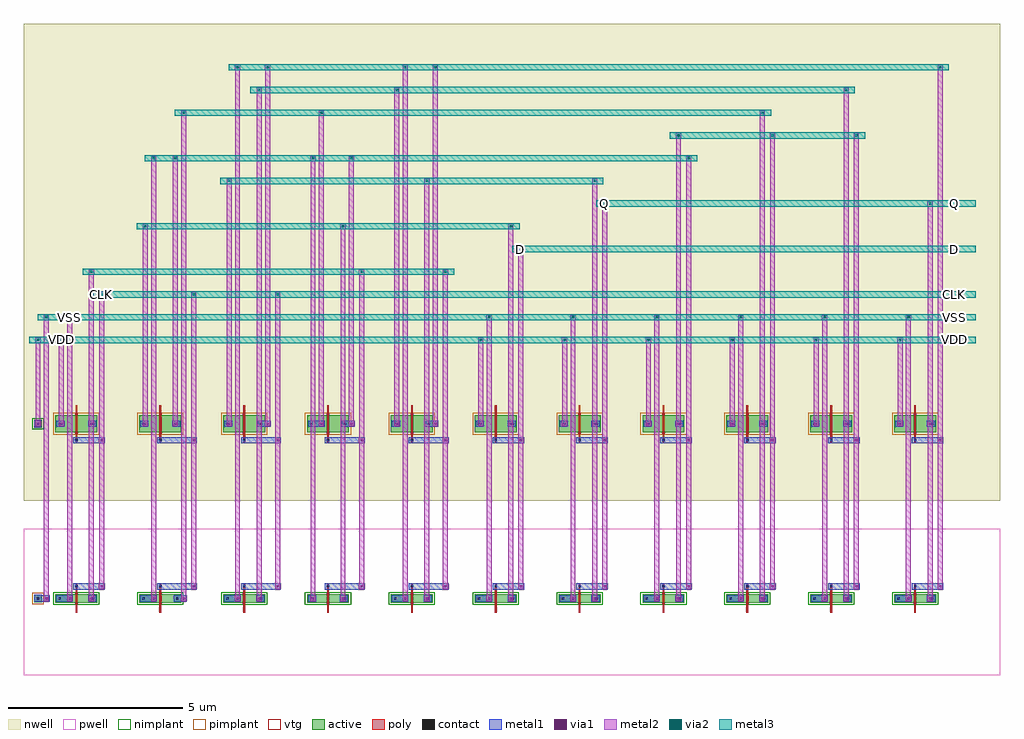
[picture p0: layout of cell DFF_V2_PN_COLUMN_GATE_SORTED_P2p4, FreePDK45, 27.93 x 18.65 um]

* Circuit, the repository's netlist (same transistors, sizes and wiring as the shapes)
* cell DFF_V2_PN_COLUMN_GATE_SORTED_P2p4
* pin CLK
* pin D
* pin Q
* pin VDD
* pin VSS
.SUBCKT DFF_V2_PN_COLUMN_GATE_SORTED_P2p4 7 8 9 12 13
* net 7 CLK
* net 8 D
* net 9 Q
* net 12 VDD
* net 13 VSS
* device instance $1 r0 *1 25.2,7 PMOS_VTG
M$1 9 4 12 12 PMOS_VTG L=0.05U W=0.5U AS=0.2875P AD=0.2875P PS=2.15U PD=2.15U
* device instance $2 r0 *1 20.4,7 PMOS_VTG
M$2 3 6 12 12 PMOS_VTG L=0.05U W=0.5U AS=0.2875P AD=0.2875P PS=2.15U PD=2.15U
* device instance $3 r0 *1 22.8,7 PMOS_VTG
M$3 5 6 12 12 PMOS_VTG L=0.05U W=0.5U AS=0.2875P AD=0.2875P PS=2.15U PD=2.15U
* device instance $4 r0 *1 18,7 PMOS_VTG
M$4 6 2 12 12 PMOS_VTG L=0.05U W=0.5U AS=0.2875P AD=0.2875P PS=2.15U PD=2.15U
* device instance $5 r0 *1 1.2,7 PMOS_VTG
M$5 1 7 12 12 PMOS_VTG L=0.05U W=0.5U AS=0.2875P AD=0.2875P PS=2.15U PD=2.15U
* device instance $6 r0 *1 8.4,7 PMOS_VTG
M$6 2 1 3 12 PMOS_VTG L=0.05U W=0.5U AS=0.2875P AD=0.2875P PS=2.15U PD=2.15U
* device instance $7 r0 *1 3.6,7 PMOS_VTG
M$7 2 7 10 12 PMOS_VTG L=0.05U W=0.5U AS=0.2875P AD=0.2875P PS=2.15U PD=2.15U
* device instance $8 r0 *1 6,7 PMOS_VTG
M$8 4 7 11 12 PMOS_VTG L=0.05U W=0.5U AS=0.2875P AD=0.2875P PS=2.15U PD=2.15U
* device instance $9 r0 *1 13.2,7 PMOS_VTG
M$9 10 8 12 12 PMOS_VTG L=0.05U W=0.5U AS=0.2875P AD=0.2875P PS=2.15U PD=2.15U
* device instance $10 r0 *1 10.8,7 PMOS_VTG
M$10 4 1 5 12 PMOS_VTG L=0.05U W=0.5U AS=0.2875P AD=0.2875P PS=2.15U PD=2.15U
* device instance $11 r0 *1 15.6,7 PMOS_VTG
M$11 11 9 12 12 PMOS_VTG L=0.05U W=0.5U AS=0.2875P AD=0.2875P PS=2.15U PD=2.15U
* device instance $12 r0 *1 25.2,2 NMOS_VTG
M$12 9 4 13 13 NMOS_VTG L=0.05U W=0.25U AS=0.14375P AD=0.14375P PS=1.65U
+ PD=1.65U
* device instance $13 r0 *1 22.8,2 NMOS_VTG
M$13 5 6 13 13 NMOS_VTG L=0.05U W=0.25U AS=0.14375P AD=0.14375P PS=1.65U
+ PD=1.65U
* device instance $14 r0 *1 18,2 NMOS_VTG
M$14 6 2 13 13 NMOS_VTG L=0.05U W=0.25U AS=0.14375P AD=0.14375P PS=1.65U
+ PD=1.65U
* device instance $15 r0 *1 15.6,2 NMOS_VTG
M$15 11 9 13 13 NMOS_VTG L=0.05U W=0.25U AS=0.14375P AD=0.14375P PS=1.65U
+ PD=1.65U
* device instance $16 r0 *1 1.2,2 NMOS_VTG
M$16 1 7 13 13 NMOS_VTG L=0.05U W=0.25U AS=0.14375P AD=0.14375P PS=1.65U
+ PD=1.65U
* device instance $17 r0 *1 3.6,2 NMOS_VTG
M$17 3 7 2 13 NMOS_VTG L=0.05U W=0.25U AS=0.14375P AD=0.14375P PS=1.65U PD=1.65U
* device instance $18 r0 *1 6,2 NMOS_VTG
M$18 5 7 4 13 NMOS_VTG L=0.05U W=0.25U AS=0.14375P AD=0.14375P PS=1.65U PD=1.65U
* device instance $19 r0 *1 8.4,2 NMOS_VTG
M$19 10 1 2 13 NMOS_VTG L=0.05U W=0.25U AS=0.14375P AD=0.14375P PS=1.65U
+ PD=1.65U
* device instance $20 r0 *1 20.4,2 NMOS_VTG
M$20 3 6 13 13 NMOS_VTG L=0.05U W=0.25U AS=0.14375P AD=0.14375P PS=1.65U
+ PD=1.65U
* device instance $21 r0 *1 13.2,2 NMOS_VTG
M$21 10 8 13 13 NMOS_VTG L=0.05U W=0.25U AS=0.14375P AD=0.14375P PS=1.65U
+ PD=1.65U
* device instance $22 r0 *1 10.8,2 NMOS_VTG
M$22 11 1 4 13 NMOS_VTG L=0.05U W=0.25U AS=0.14375P AD=0.14375P PS=1.65U
+ PD=1.65U
.ENDS DFF_V2_PN_COLUMN_GATE_SORTED_P2p4

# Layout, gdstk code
import gdstk
lib = gdstk.Library(unit=1e-6, precision=5e-10)
def R(c, l, rs):  # rectangles x0, y0, x1, y1
    for r in rs: c.add(gdstk.rectangle(r[:2], r[2:], *l))
def A(c, l, x, y, w, h, nx, ny, dx, dy):  # array of equal rectangles
    R(c, l, [(x+i*dx, y+j*dy, x+i*dx+w, y+j*dy+h) for i in range(nx) for j in range(ny)])
active = (1, 0)
pwell = (2, 0)
nwell = (3, 0)
nimplant = (4, 0)
pimplant = (5, 0)
vtg = (6, 0)
poly = (9, 0)
contact = (10, 0)
metal1 = (11, 0)
via1 = (12, 0)
metal2 = (13, 0)
via2 = (14, 0)
metal3 = (15, 0)

dff_v2_pn_column_gate_so = lib.new_cell('DFF_V2_PN_COLUMN_GATE_SORTED_P2p4')
A(dff_v2_pn_column_gate_so, active, 0.6, 1.875, 1.2, 0.25, 11, 1, 2.4, 0)
A(dff_v2_pn_column_gate_so, active, 0.6, 6.75, 1.2, 0.5, 11, 1, 2.4, 0)
R(dff_v2_pn_column_gate_so, active, [(-0.01,1.89,0.21,2.11), (-0.01,6.89,0.21,7.11)])
R(dff_v2_pn_column_gate_so, pwell, [(-0.3,-0.2,27.63,4)])
R(dff_v2_pn_column_gate_so, nwell, [(-0.3,4.8,27.63,18.45)])
A(dff_v2_pn_column_gate_so, nimplant, 0.54, 1.815, 1.32, 0.37, 11, 1, 2.4, 0)
R(dff_v2_pn_column_gate_so, nimplant, [(-0.06,6.84,0.26,7.16)])
A(dff_v2_pn_column_gate_so, pimplant, 0.54, 6.69, 1.32, 0.62, 11, 1, 2.4, 0)
R(dff_v2_pn_column_gate_so, pimplant, [(-0.06,1.84,0.26,2.16)])
A(dff_v2_pn_column_gate_so, vtg, 1.165, 1.845, 0.07, 0.31, 11, 1, 2.4, 0)
A(dff_v2_pn_column_gate_so, vtg, 1.165, 6.72, 0.07, 0.56, 11, 1, 2.4, 0)
A(dff_v2_pn_column_gate_so, poly, 1.175, 1.595, 0.05, 0.81, 11, 1, 2.4, 0)
A(dff_v2_pn_column_gate_so, poly, 1.175, 6.47, 0.05, 1.06, 11, 1, 2.4, 0)
A(dff_v2_pn_column_gate_so, contact, 1.17, 2.315, 0.065, 0.065, 11, 2, 2.4, 4.185)
R(dff_v2_pn_column_gate_so, contact, [(0.07,1.97,0.135,2.035), (0.69,1.97,0.755,2.035), (1.65,1.97,1.715,2.035), (3.09,1.97,3.155,2.035), (4.05,1.97,4.115,2.035), (5.49,1.97,5.555,2.035), (6.45,1.97,6.515,2.035), (7.89,1.97,7.955,2.035), (8.85,1.97,8.915,2.035), (10.29,1.97,10.355,2.035), (11.25,1.97,11.315,2.035), (12.69,1.97,12.755,2.035), (13.65,1.97,13.715,2.035), (15.09,1.97,15.155,2.035), (16.05,1.97,16.115,2.035), (17.49,1.97,17.555,2.035), (18.45,1.97,18.515,2.035), (19.89,1.97,19.955,2.035), (20.85,1.97,20.915,2.035), (22.29,1.97,22.355,2.035), (23.25,1.97,23.315,2.035), (24.69,1.97,24.755,2.035), (25.65,1.97,25.715,2.035), (0.07,6.97,0.135,7.035), (0.69,6.97,0.755,7.035), (1.65,6.97,1.715,7.035), (3.09,6.97,3.155,7.035), (4.05,6.97,4.115,7.035), (5.49,6.97,5.555,7.035), (6.45,6.97,6.515,7.035), (7.89,6.97,7.955,7.035), (8.85,6.97,8.915,7.035), (10.29,6.97,10.355,7.035), (11.25,6.97,11.315,7.035), (12.69,6.97,12.755,7.035), (13.65,6.97,13.715,7.035), (15.09,6.97,15.155,7.035), (16.05,6.97,16.115,7.035), (17.49,6.97,17.555,7.035), (18.45,6.97,18.515,7.035), (19.89,6.97,19.955,7.035), (20.85,6.97,20.915,7.035), (22.29,6.97,22.355,7.035), (23.25,6.97,23.315,7.035), (24.69,6.97,24.755,7.035), (25.65,6.97,25.715,7.035)])
A(dff_v2_pn_column_gate_so, metal1, 10.37, 1.91, 0.24, 0.18, 7, 1, 2.4, 0)
A(dff_v2_pn_column_gate_so, metal1, 3.6, 2.255, 0.96, 0.18, 4, 2, 2.4, 4.185)
A(dff_v2_pn_column_gate_so, metal1, 13.2, 2.255, 0.72, 0.18, 6, 2, 2.4, 4.185)
R(dff_v2_pn_column_gate_so, metal1, [(0,1.9,0.2,2.1), (0.1,1.91,0.34,2.09), (0.1,1.91,0.34,2.09), (0.1,1.91,0.34,2.09), (0.1,1.91,0.34,2.09), (0.1,1.91,0.34,2.09), (0.1,1.91,0.34,2.09), (0.1,1.91,0.34,2.09), (0.1,1.91,0.34,2.09), (0.1,1.91,0.34,2.09), (0.1,1.91,0.34,2.09), (0.1,1.91,0.34,2.09), (0.1,1.91,0.34,2.09), (0.25,1.91,0.43,2.09), (0.25,1.91,0.43,2.09), (0.25,1.91,0.43,2.09), (0.25,1.91,0.43,2.09), (0.25,1.91,0.43,2.09), (0.25,1.91,0.43,2.09), (0.25,1.91,0.43,2.09), (0.25,1.91,0.43,2.09), (0.25,1.91,0.43,2.09), (0.25,1.91,0.43,2.09), (0.25,1.91,0.43,2.09), (0.25,1.91,0.43,2.09), (0.63,1.91,0.81,2.09), (0.77,1.91,1.01,2.09), (0.92,1.91,1.1,2.09), (1.54,1.91,1.72,2.09), (1.59,1.91,1.77,2.09), (3.03,1.91,3.21,2.09), (3.17,1.91,3.41,2.09), (3.32,1.91,3.5,2.09), (3.99,1.91,4.17,2.09), (4.03,1.91,4.27,2.09), (4.18,1.91,4.36,2.09), (5.43,1.91,5.61,2.09), (5.57,1.91,5.81,2.09), (5.72,1.91,5.9,2.09), (6.34,1.91,6.52,2.09), (6.39,1.91,6.57,2.09), (7.83,1.91,8.01,2.09), (7.88,1.91,8.06,2.09), (8.74,1.91,8.92,2.09), (8.79,1.91,8.97,2.09), (10.23,1.91,10.41,2.09), (10.52,1.91,10.7,2.09), (11.14,1.91,11.32,2.09), (11.19,1.91,11.37,2.09), (12.63,1.91,12.81,2.09), (12.92,1.91,13.1,2.09), (13.54,1.91,13.72,2.09), (13.59,1.91,13.77,2.09), (15.03,1.91,15.21,2.09), (15.32,1.91,15.5,2.09), (15.94,1.91,16.12,2.09), (15.99,1.91,16.17,2.09), (17.43,1.91,17.61,2.09), (17.72,1.91,17.9,2.09), (18.34,1.91,18.52,2.09), (18.39,1.91,18.57,2.09), (19.83,1.91,20.01,2.09), (20.12,1.91,20.3,2.09), (20.74,1.91,20.92,2.09), (20.79,1.91,20.97,2.09), (22.23,1.91,22.41,2.09), (22.52,1.91,22.7,2.09), (23.14,1.91,23.32,2.09), (23.19,1.91,23.37,2.09), (24.63,1.91,24.81,2.09), (24.92,1.91,25.1,2.09), (25.54,1.91,25.72,2.09), (25.59,1.91,25.77,2.09), (1.11,2.255,1.29,2.435), (1.2,2.255,1.92,2.435), (1.83,2.255,2.01,2.435), (3.51,2.255,3.69,2.435), (4.47,2.255,4.65,2.435), (5.91,2.255,6.09,2.435), (6.87,2.255,7.05,2.435), (8.31,2.255,8.49,2.435), (9.27,2.255,9.45,2.435), (10.71,2.255,10.89,2.435), (11.67,2.255,11.85,2.435), (13.11,2.255,13.29,2.435), (13.83,2.255,14.01,2.435), (15.51,2.255,15.69,2.435), (16.23,2.255,16.41,2.435), (17.91,2.255,18.09,2.435), (18.63,2.255,18.81,2.435), (20.31,2.255,20.49,2.435), (21.03,2.255,21.21,2.435), (22.71,2.255,22.89,2.435), (23.43,2.255,23.61,2.435), (25.11,2.255,25.29,2.435), (25.83,2.255,26.01,2.435), (1.11,6.44,1.29,6.62), (1.2,6.44,1.92,6.62), (1.83,6.44,2.01,6.62), (3.51,6.44,3.69,6.62), (4.47,6.44,4.65,6.62), (5.91,6.44,6.09,6.62), (6.87,6.44,7.05,6.62), (8.31,6.44,8.49,6.62), (9.27,6.44,9.45,6.62), (10.71,6.44,10.89,6.62), (11.67,6.44,11.85,6.62), (13.11,6.44,13.29,6.62), (13.83,6.44,14.01,6.62), (15.51,6.44,15.69,6.62), (16.23,6.44,16.41,6.62), (17.91,6.44,18.09,6.62), (18.63,6.44,18.81,6.62), (20.31,6.44,20.49,6.62), (21.03,6.44,21.21,6.62), (22.71,6.44,22.89,6.62), (23.43,6.44,23.61,6.62), (25.11,6.44,25.29,6.62), (25.83,6.44,26.01,6.62), (0,6.9,0.2,7.1), (0.01,6.91,0.19,7.09), (0.01,6.91,0.19,7.09), (0.01,6.91,0.19,7.09), (0.01,6.91,0.19,7.09), (0.01,6.91,0.19,7.09), (0.01,6.91,0.19,7.09), (0.01,6.91,0.19,7.09), (0.01,6.91,0.19,7.09), (0.01,6.91,0.19,7.09), (0.01,6.91,0.19,7.09), (0.01,6.91,0.19,7.09), (0.01,6.91,0.19,7.09), (0.63,6.91,0.81,7.09), (0.68,6.91,0.86,7.09), (1.54,6.91,1.72,7.09), (1.59,6.91,1.77,7.09), (3.03,6.91,3.21,7.09), (3.08,6.91,3.26,7.09), (3.94,6.91,4.12,7.09), (3.99,6.91,4.17,7.09), (5.43,6.91,5.61,7.09), (5.48,6.91,5.66,7.09), (6.39,6.91,6.57,7.09), (6.43,6.91,6.67,7.09), (6.58,6.91,6.76,7.09), (7.83,6.91,8.01,7.09), (7.97,6.91,8.21,7.09), (8.12,6.91,8.3,7.09), (8.79,6.91,8.97,7.09), (8.83,6.91,9.07,7.09), (8.98,6.91,9.16,7.09), (10.23,6.91,10.41,7.09), (10.28,6.91,10.46,7.09), (11.19,6.91,11.37,7.09), (11.23,6.91,11.47,7.09), (11.38,6.91,11.56,7.09), (12.63,6.91,12.81,7.09), (12.68,6.91,12.86,7.09), (13.54,6.91,13.72,7.09), (13.59,6.91,13.77,7.09), (15.03,6.91,15.21,7.09), (15.08,6.91,15.26,7.09), (15.94,6.91,16.12,7.09), (15.99,6.91,16.17,7.09), (17.43,6.91,17.61,7.09), (17.48,6.91,17.66,7.09), (18.34,6.91,18.52,7.09), (18.39,6.91,18.57,7.09), (19.83,6.91,20.01,7.09), (19.88,6.91,20.06,7.09), (20.74,6.91,20.92,7.09), (20.79,6.91,20.97,7.09), (22.23,6.91,22.41,7.09), (22.28,6.91,22.46,7.09), (23.14,6.91,23.32,7.09), (23.19,6.91,23.37,7.09), (24.63,6.91,24.81,7.09), (24.68,6.91,24.86,7.09), (25.54,6.91,25.72,7.09), (25.59,6.91,25.77,7.09)])
A(dff_v2_pn_column_gate_so, via1, 4.53, 2.315, 0.065, 0.065, 4, 2, 2.4, 4.185)
A(dff_v2_pn_column_gate_so, via1, 13.89, 2.315, 0.065, 0.065, 6, 2, 2.4, 4.185)
R(dff_v2_pn_column_gate_so, via1, [(0.31,1.97,0.375,2.035), (0.31,1.97,0.375,2.035), (0.31,1.97,0.375,2.035), (0.31,1.97,0.375,2.035), (0.31,1.97,0.375,2.035), (0.31,1.97,0.375,2.035), (0.31,1.97,0.375,2.035), (0.31,1.97,0.375,2.035), (0.31,1.97,0.375,2.035), (0.31,1.97,0.375,2.035), (0.31,1.97,0.375,2.035), (0.31,1.97,0.375,2.035), (0.98,1.97,1.045,2.035), (1.6,1.97,1.665,2.035), (3.38,1.97,3.445,2.035), (4.24,1.97,4.305,2.035), (5.78,1.97,5.845,2.035), (6.4,1.97,6.465,2.035), (7.94,1.97,8.005,2.035), (8.8,1.97,8.865,2.035), (10.58,1.97,10.645,2.035), (11.2,1.97,11.265,2.035), (12.98,1.97,13.045,2.035), (13.6,1.97,13.665,2.035), (15.38,1.97,15.445,2.035), (16,1.97,16.065,2.035), (17.78,1.97,17.845,2.035), (18.4,1.97,18.465,2.035), (20.18,1.97,20.245,2.035), (20.8,1.97,20.865,2.035), (22.58,1.97,22.645,2.035), (23.2,1.97,23.265,2.035), (24.98,1.97,25.045,2.035), (25.6,1.97,25.665,2.035), (1.89,2.315,1.955,2.38), (1.89,6.5,1.955,6.565), (0.07,6.97,0.135,7.035), (0.07,6.97,0.135,7.035), (0.07,6.97,0.135,7.035), (0.07,6.97,0.135,7.035), (0.07,6.97,0.135,7.035), (0.07,6.97,0.135,7.035), (0.07,6.97,0.135,7.035), (0.07,6.97,0.135,7.035), (0.07,6.97,0.135,7.035), (0.07,6.97,0.135,7.035), (0.07,6.97,0.135,7.035), (0.07,6.97,0.135,7.035), (0.74,6.97,0.805,7.035), (1.6,6.97,1.665,7.035), (3.14,6.97,3.205,7.035), (4,6.97,4.065,7.035), (5.54,6.97,5.605,7.035), (6.64,6.97,6.705,7.035), (8.18,6.97,8.245,7.035), (9.04,6.97,9.105,7.035), (10.34,6.97,10.405,7.035), (11.44,6.97,11.505,7.035), (12.74,6.97,12.805,7.035), (13.6,6.97,13.665,7.035), (15.14,6.97,15.205,7.035), (16,6.97,16.065,7.035), (17.54,6.97,17.605,7.035), (18.4,6.97,18.465,7.035), (19.94,6.97,20.005,7.035), (20.8,6.97,20.865,7.035), (22.34,6.97,22.405,7.035), (23.2,6.97,23.265,7.035), (24.74,6.97,24.805,7.035), (25.6,6.97,25.665,7.035)])
A(dff_v2_pn_column_gate_so, metal2, 12.94, 2, 0.14, 8.05, 6, 1, 2.4, 0)
A(dff_v2_pn_column_gate_so, metal2, 4.485, 2.27, 0.15, 0.15, 4, 2, 2.4, 4.185)
A(dff_v2_pn_column_gate_so, metal2, 13.845, 2.27, 0.15, 0.15, 6, 2, 2.4, 4.185)
A(dff_v2_pn_column_gate_so, metal2, 12.7, 7, 0.14, 2.4, 6, 1, 2.4, 0)
A(dff_v2_pn_column_gate_so, metal2, 12.695, 9.325, 0.15, 0.15, 6, 1, 2.4, 0)
A(dff_v2_pn_column_gate_so, metal2, 12.935, 9.975, 0.15, 0.15, 6, 1, 2.4, 0)
R(dff_v2_pn_column_gate_so, metal2, [(0.265,1.925,0.415,2.075), (0.265,1.925,0.415,2.075), (0.265,1.925,0.415,2.075), (0.265,1.925,0.415,2.075), (0.265,1.925,0.415,2.075), (0.265,1.925,0.415,2.075), (0.265,1.925,0.415,2.075), (0.265,1.925,0.415,2.075), (0.265,1.925,0.415,2.075), (0.265,1.925,0.415,2.075), (0.265,1.925,0.415,2.075), (0.265,1.925,0.415,2.075), (0.935,1.925,1.085,2.075), (1.555,1.925,1.705,2.075), (3.335,1.925,3.485,2.075), (4.195,1.925,4.345,2.075), (5.735,1.925,5.885,2.075), (6.355,1.925,6.505,2.075), (7.895,1.925,8.045,2.075), (8.755,1.925,8.905,2.075), (10.535,1.925,10.685,2.075), (11.155,1.925,11.305,2.075), (12.935,1.925,13.085,2.075), (13.555,1.925,13.705,2.075), (15.335,1.925,15.485,2.075), (15.955,1.925,16.105,2.075), (17.735,1.925,17.885,2.075), (18.355,1.925,18.505,2.075), (20.135,1.925,20.285,2.075), (20.755,1.925,20.905,2.075), (22.535,1.925,22.685,2.075), (23.155,1.925,23.305,2.075), (24.935,1.925,25.085,2.075), (25.555,1.925,25.705,2.075), (0.27,2,0.41,10.05), (0.27,2,0.41,10.05), (0.27,2,0.41,10.05), (0.27,2,0.41,10.05), (0.27,2,0.41,10.05), (0.27,2,0.41,10.05), (0.27,2,0.41,10.05), (0.27,2,0.41,10.05), (0.27,2,0.41,10.05), (0.27,2,0.41,10.05), (0.27,2,0.41,10.05), (0.27,2,0.41,10.05), (0.94,2,1.08,10.05), (1.56,2,1.7,11.35), (3.34,2,3.48,14.6), (4.2,2,4.34,15.9), (5.74,2,5.88,17.2), (6.36,2,6.5,16.55), (7.9,2,8.04,14.6), (8.76,2,8.9,12.65), (10.54,2,10.68,17.2), (11.16,2,11.3,13.95), (13.56,2,13.7,12.65), (15.96,2,16.1,13.95), (18.36,2,18.5,15.25), (20.76,2,20.9,15.9), (23.16,2,23.3,16.55), (25.56,2,25.7,13.3), (1.845,2.27,1.995,2.42), (1.85,2.345,1.99,10.7), (4.49,2.345,4.63,10.7), (6.89,2.345,7.03,10.7), (9.29,2.345,9.43,11.35), (11.69,2.345,11.83,11.35), (13.85,2.345,13.99,12), (16.25,2.345,16.39,13.3), (18.65,2.345,18.79,14.6), (21.05,2.345,21.19,15.25), (23.45,2.345,23.59,15.25), (25.85,2.345,25.99,17.2), (1.845,6.455,1.995,6.605), (1.85,6.53,1.99,10.7), (4.49,6.53,4.63,10.7), (6.89,6.53,7.03,10.7), (9.29,6.53,9.43,11.35), (11.69,6.53,11.83,11.35), (13.85,6.53,13.99,12), (16.25,6.53,16.39,13.3), (18.65,6.53,18.79,14.6), (21.05,6.53,21.19,15.25), (23.45,6.53,23.59,15.25), (25.85,6.53,25.99,17.2), (0.025,6.925,0.175,7.075), (0.025,6.925,0.175,7.075), (0.025,6.925,0.175,7.075), (0.025,6.925,0.175,7.075), (0.025,6.925,0.175,7.075), (0.025,6.925,0.175,7.075), (0.025,6.925,0.175,7.075), (0.025,6.925,0.175,7.075), (0.025,6.925,0.175,7.075), (0.025,6.925,0.175,7.075), (0.025,6.925,0.175,7.075), (0.025,6.925,0.175,7.075), (0.695,6.925,0.845,7.075), (1.555,6.925,1.705,7.075), (3.095,6.925,3.245,7.075), (3.955,6.925,4.105,7.075), (5.495,6.925,5.645,7.075), (6.595,6.925,6.745,7.075), (8.135,6.925,8.285,7.075), (8.995,6.925,9.145,7.075), (10.295,6.925,10.445,7.075), (11.395,6.925,11.545,7.075), (12.695,6.925,12.845,7.075), (13.555,6.925,13.705,7.075), (15.095,6.925,15.245,7.075), (15.955,6.925,16.105,7.075), (17.495,6.925,17.645,7.075), (18.355,6.925,18.505,7.075), (19.895,6.925,20.045,7.075), (20.755,6.925,20.905,7.075), (22.295,6.925,22.445,7.075), (23.155,6.925,23.305,7.075), (24.695,6.925,24.845,7.075), (25.555,6.925,25.705,7.075), (0.03,7,0.17,9.4), (0.03,7,0.17,9.4), (0.03,7,0.17,9.4), (0.03,7,0.17,9.4), (0.03,7,0.17,9.4), (0.03,7,0.17,9.4), (0.03,7,0.17,9.4), (0.03,7,0.17,9.4), (0.03,7,0.17,9.4), (0.03,7,0.17,9.4), (0.03,7,0.17,9.4), (0.03,7,0.17,9.4), (0.7,7,0.84,9.4), (1.56,7,1.7,11.35), (3.1,7,3.24,12.65), (3.96,7,4.1,14.6), (5.5,7,5.64,13.95), (6.6,7,6.74,17.2), (8.14,7,8.28,15.9), (9,7,9.14,14.6), (10.3,7,10.44,16.55), (11.4,7,11.54,17.2), (13.56,7,13.7,12.65), (15.96,7,16.1,13.95), (18.36,7,18.5,15.25), (20.76,7,20.9,15.9), (23.16,7,23.3,16.55), (25.56,7,25.7,13.3), (0.025,9.325,0.175,9.475), (0.025,9.325,0.175,9.475), (0.025,9.325,0.175,9.475), (0.025,9.325,0.175,9.475), (0.025,9.325,0.175,9.475), (0.025,9.325,0.175,9.475), (0.025,9.325,0.175,9.475), (0.025,9.325,0.175,9.475), (0.025,9.325,0.175,9.475), (0.025,9.325,0.175,9.475), (0.025,9.325,0.175,9.475), (0.025,9.325,0.175,9.475), (0.695,9.325,0.845,9.475), (0.265,9.975,0.415,10.125), (0.265,9.975,0.415,10.125), (0.265,9.975,0.415,10.125), (0.265,9.975,0.415,10.125), (0.265,9.975,0.415,10.125), (0.265,9.975,0.415,10.125), (0.265,9.975,0.415,10.125), (0.265,9.975,0.415,10.125), (0.265,9.975,0.415,10.125), (0.265,9.975,0.415,10.125), (0.265,9.975,0.415,10.125), (0.265,9.975,0.415,10.125), (0.935,9.975,1.085,10.125), (1.845,10.625,1.995,10.775), (1.845,10.625,1.995,10.775), (4.485,10.625,4.635,10.775), (4.485,10.625,4.635,10.775), (6.885,10.625,7.035,10.775), (6.885,10.625,7.035,10.775), (1.555,11.275,1.705,11.425), (1.555,11.275,1.705,11.425), (9.285,11.275,9.435,11.425), (9.285,11.275,9.435,11.425), (11.685,11.275,11.835,11.425), (11.685,11.275,11.835,11.425), (13.845,11.925,13.995,12.075), (13.845,11.925,13.995,12.075), (3.095,12.575,3.245,12.725), (8.755,12.575,8.905,12.725), (13.555,12.575,13.705,12.725), (13.555,12.575,13.705,12.725), (16.245,13.225,16.395,13.375), (16.245,13.225,16.395,13.375), (25.555,13.225,25.705,13.375), (25.555,13.225,25.705,13.375), (5.495,13.875,5.645,14.025), (11.155,13.875,11.305,14.025), (15.955,13.875,16.105,14.025), (15.955,13.875,16.105,14.025), (3.335,14.525,3.485,14.675), (3.955,14.525,4.105,14.675), (7.895,14.525,8.045,14.675), (8.995,14.525,9.145,14.675), (18.645,14.525,18.795,14.675), (18.645,14.525,18.795,14.675), (18.355,15.175,18.505,15.325), (18.355,15.175,18.505,15.325), (21.045,15.175,21.195,15.325), (21.045,15.175,21.195,15.325), (23.445,15.175,23.595,15.325), (23.445,15.175,23.595,15.325), (4.195,15.825,4.345,15.975), (8.135,15.825,8.285,15.975), (20.755,15.825,20.905,15.975), (20.755,15.825,20.905,15.975), (6.355,16.475,6.505,16.625), (10.295,16.475,10.445,16.625), (23.155,16.475,23.305,16.625), (23.155,16.475,23.305,16.625), (5.735,17.125,5.885,17.275), (6.595,17.125,6.745,17.275), (10.535,17.125,10.685,17.275), (11.395,17.125,11.545,17.275), (25.845,17.125,25.995,17.275), (25.845,17.125,25.995,17.275)])
A(dff_v2_pn_column_gate_so, via2, 12.74, 9.37, 0.065, 0.065, 6, 1, 2.4, 0)
A(dff_v2_pn_column_gate_so, via2, 12.98, 10.02, 0.065, 0.065, 6, 1, 2.4, 0)
R(dff_v2_pn_column_gate_so, via2, [(0.07,9.37,0.135,9.435), (0.07,9.37,0.135,9.435), (0.07,9.37,0.135,9.435), (0.07,9.37,0.135,9.435), (0.07,9.37,0.135,9.435), (0.07,9.37,0.135,9.435), (0.07,9.37,0.135,9.435), (0.07,9.37,0.135,9.435), (0.07,9.37,0.135,9.435), (0.07,9.37,0.135,9.435), (0.07,9.37,0.135,9.435), (0.07,9.37,0.135,9.435), (0.74,9.37,0.805,9.435), (0.31,10.02,0.375,10.085), (0.31,10.02,0.375,10.085), (0.31,10.02,0.375,10.085), (0.31,10.02,0.375,10.085), (0.31,10.02,0.375,10.085), (0.31,10.02,0.375,10.085), (0.31,10.02,0.375,10.085), (0.31,10.02,0.375,10.085), (0.31,10.02,0.375,10.085), (0.31,10.02,0.375,10.085), (0.31,10.02,0.375,10.085), (0.31,10.02,0.375,10.085), (0.98,10.02,1.045,10.085), (1.89,10.67,1.955,10.735), (1.89,10.67,1.955,10.735), (4.53,10.67,4.595,10.735), (4.53,10.67,4.595,10.735), (6.93,10.67,6.995,10.735), (6.93,10.67,6.995,10.735), (1.6,11.32,1.665,11.385), (1.6,11.32,1.665,11.385), (9.33,11.32,9.395,11.385), (9.33,11.32,9.395,11.385), (11.73,11.32,11.795,11.385), (11.73,11.32,11.795,11.385), (13.89,11.97,13.955,12.035), (13.89,11.97,13.955,12.035), (3.14,12.62,3.205,12.685), (8.8,12.62,8.865,12.685), (13.6,12.62,13.665,12.685), (13.6,12.62,13.665,12.685), (16.29,13.27,16.355,13.335), (16.29,13.27,16.355,13.335), (25.6,13.27,25.665,13.335), (25.6,13.27,25.665,13.335), (5.54,13.92,5.605,13.985), (11.2,13.92,11.265,13.985), (16,13.92,16.065,13.985), (16,13.92,16.065,13.985), (3.38,14.57,3.445,14.635), (4,14.57,4.065,14.635), (7.94,14.57,8.005,14.635), (9.04,14.57,9.105,14.635), (18.69,14.57,18.755,14.635), (18.69,14.57,18.755,14.635), (18.4,15.22,18.465,15.285), (18.4,15.22,18.465,15.285), (21.09,15.22,21.155,15.285), (21.09,15.22,21.155,15.285), (23.49,15.22,23.555,15.285), (23.49,15.22,23.555,15.285), (4.24,15.87,4.305,15.935), (8.18,15.87,8.245,15.935), (20.8,15.87,20.865,15.935), (20.8,15.87,20.865,15.935), (6.4,16.52,6.465,16.585), (10.34,16.52,10.405,16.585), (23.2,16.52,23.265,16.585), (23.2,16.52,23.265,16.585), (5.78,17.17,5.845,17.235), (6.64,17.17,6.705,17.235), (10.58,17.17,10.645,17.235), (11.44,17.17,11.505,17.235), (25.89,17.17,25.955,17.235), (25.89,17.17,25.955,17.235)])
A(dff_v2_pn_column_gate_so, metal3, 12.695, 9.325, 0.15, 0.15, 6, 1, 2.4, 0)
A(dff_v2_pn_column_gate_so, metal3, 12.935, 9.975, 0.15, 0.15, 6, 1, 2.4, 0)
R(dff_v2_pn_column_gate_so, metal3, [(-0.15,9.31,25.02,9.49), (25.02,9.31,26.93,9.49), (0.025,9.325,0.175,9.475), (0.025,9.325,0.175,9.475), (0.025,9.325,0.175,9.475), (0.025,9.325,0.175,9.475), (0.025,9.325,0.175,9.475), (0.025,9.325,0.175,9.475), (0.025,9.325,0.175,9.475), (0.025,9.325,0.175,9.475), (0.025,9.325,0.175,9.475), (0.025,9.325,0.175,9.475), (0.025,9.325,0.175,9.475), (0.025,9.325,0.175,9.475), (0.695,9.325,0.845,9.475), (0.09,9.96,25.26,10.14), (25.26,9.96,26.93,10.14), (0.265,9.975,0.415,10.125), (0.265,9.975,0.415,10.125), (0.265,9.975,0.415,10.125), (0.265,9.975,0.415,10.125), (0.265,9.975,0.415,10.125), (0.265,9.975,0.415,10.125), (0.265,9.975,0.415,10.125), (0.265,9.975,0.415,10.125), (0.265,9.975,0.415,10.125), (0.265,9.975,0.415,10.125), (0.265,9.975,0.415,10.125), (0.265,9.975,0.415,10.125), (0.935,9.975,1.085,10.125), (1.67,10.61,7.21,10.79), (7.21,10.61,26.93,10.79), (1.845,10.625,1.995,10.775), (1.845,10.625,1.995,10.775), (4.485,10.625,4.635,10.775), (4.485,10.625,4.635,10.775), (6.885,10.625,7.035,10.775), (6.885,10.625,7.035,10.775), (1.38,11.26,12.01,11.44), (1.555,11.275,1.705,11.425), (1.555,11.275,1.705,11.425), (9.285,11.275,9.435,11.425), (9.285,11.275,9.435,11.425), (11.685,11.275,11.835,11.425), (11.685,11.275,11.835,11.425), (13.67,11.91,14.17,12.09), (14.17,11.91,26.93,12.09), (13.845,11.925,13.995,12.075), (13.845,11.925,13.995,12.075), (2.92,12.56,13.88,12.74), (3.095,12.575,3.245,12.725), (8.755,12.575,8.905,12.725), (13.555,12.575,13.705,12.725), (13.555,12.575,13.705,12.725), (16.07,13.21,25.88,13.39), (25.88,13.21,26.93,13.39), (16.245,13.225,16.395,13.375), (16.245,13.225,16.395,13.375), (25.555,13.225,25.705,13.375), (25.555,13.225,25.705,13.375), (5.32,13.86,16.28,14.04), (5.495,13.875,5.645,14.025), (11.155,13.875,11.305,14.025), (15.955,13.875,16.105,14.025), (15.955,13.875,16.105,14.025), (3.16,14.51,18.97,14.69), (3.335,14.525,3.485,14.675), (3.955,14.525,4.105,14.675), (7.895,14.525,8.045,14.675), (8.995,14.525,9.145,14.675), (18.645,14.525,18.795,14.675), (18.645,14.525,18.795,14.675), (18.18,15.16,23.77,15.34), (18.355,15.175,18.505,15.325), (18.355,15.175,18.505,15.325), (21.045,15.175,21.195,15.325), (21.045,15.175,21.195,15.325), (23.445,15.175,23.595,15.325), (23.445,15.175,23.595,15.325), (4.02,15.81,21.08,15.99), (4.195,15.825,4.345,15.975), (8.135,15.825,8.285,15.975), (20.755,15.825,20.905,15.975), (20.755,15.825,20.905,15.975), (6.18,16.46,23.48,16.64), (6.355,16.475,6.505,16.625), (10.295,16.475,10.445,16.625), (23.155,16.475,23.305,16.625), (23.155,16.475,23.305,16.625), (5.56,17.11,26.17,17.29), (5.735,17.125,5.885,17.275), (6.595,17.125,6.745,17.275), (10.535,17.125,10.685,17.275), (11.395,17.125,11.545,17.275), (25.845,17.125,25.995,17.275), (25.845,17.125,25.995,17.275)])
dff_v2_pn_column_gate_so.add(gdstk.Label('VDD', (26.33,9.4), layer=15, texttype=0))
dff_v2_pn_column_gate_so.add(gdstk.Label('VDD', (26.33,9.4), layer=15, texttype=1))
dff_v2_pn_column_gate_so.add(gdstk.Label('VDD', (26.33,9.4), layer=15, texttype=2))
dff_v2_pn_column_gate_so.add(gdstk.Label('VDD', (0.77,9.4), layer=13, texttype=0))
dff_v2_pn_column_gate_so.add(gdstk.Label('VDD', (0.77,9.4), layer=13, texttype=1))
dff_v2_pn_column_gate_so.add(gdstk.Label('VDD', (0.77,9.4), layer=13, texttype=2))
dff_v2_pn_column_gate_so.add(gdstk.Label('VSS', (26.33,10.05), layer=15, texttype=0))
dff_v2_pn_column_gate_so.add(gdstk.Label('VSS', (26.33,10.05), layer=15, texttype=1))
dff_v2_pn_column_gate_so.add(gdstk.Label('VSS', (26.33,10.05), layer=15, texttype=2))
dff_v2_pn_column_gate_so.add(gdstk.Label('VSS', (1.01,10.05), layer=13, texttype=0))
dff_v2_pn_column_gate_so.add(gdstk.Label('VSS', (1.01,10.05), layer=13, texttype=1))
dff_v2_pn_column_gate_so.add(gdstk.Label('VSS', (1.01,10.05), layer=13, texttype=2))
dff_v2_pn_column_gate_so.add(gdstk.Label('D', (26.33,12), layer=15, texttype=0))
dff_v2_pn_column_gate_so.add(gdstk.Label('D', (26.33,12), layer=15, texttype=1))
dff_v2_pn_column_gate_so.add(gdstk.Label('D', (26.33,12), layer=15, texttype=2))
dff_v2_pn_column_gate_so.add(gdstk.Label('D', (13.92,12), layer=13, texttype=0))
dff_v2_pn_column_gate_so.add(gdstk.Label('D', (13.92,12), layer=13, texttype=1))
dff_v2_pn_column_gate_so.add(gdstk.Label('D', (13.92,12), layer=13, texttype=2))
dff_v2_pn_column_gate_so.add(gdstk.Label('Q', (26.33,13.3), layer=15, texttype=0))
dff_v2_pn_column_gate_so.add(gdstk.Label('Q', (26.33,13.3), layer=15, texttype=1))
dff_v2_pn_column_gate_so.add(gdstk.Label('Q', (26.33,13.3), layer=15, texttype=2))
dff_v2_pn_column_gate_so.add(gdstk.Label('Q', (16.32,13.3), layer=13, texttype=0))
dff_v2_pn_column_gate_so.add(gdstk.Label('Q', (16.32,13.3), layer=13, texttype=1))
dff_v2_pn_column_gate_so.add(gdstk.Label('Q', (16.32,13.3), layer=13, texttype=2))
dff_v2_pn_column_gate_so.add(gdstk.Label('CLK', (26.33,10.7), layer=15, texttype=0))
dff_v2_pn_column_gate_so.add(gdstk.Label('CLK', (26.33,10.7), layer=15, texttype=1))
dff_v2_pn_column_gate_so.add(gdstk.Label('CLK', (26.33,10.7), layer=15, texttype=2))
dff_v2_pn_column_gate_so.add(gdstk.Label('CLK', (1.92,10.7), layer=13, texttype=0))
dff_v2_pn_column_gate_so.add(gdstk.Label('CLK', (1.92,10.7), layer=13, texttype=1))
dff_v2_pn_column_gate_so.add(gdstk.Label('CLK', (1.92,10.7), layer=13, texttype=2))

lib.write_gds('DFF_V2_PN_COLUMN_GATE_SORTED_P2p4.gds')
